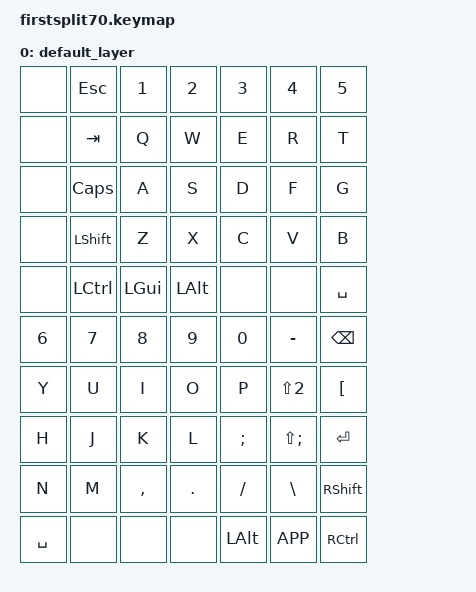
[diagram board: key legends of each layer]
#include <behaviors.dtsi>
#include <dt-bindings/zmk/keys.h>

/ {
	keymap {
		compatible = "zmk,keymap";

		default_layer {
			// 5行7列 × 2 = 70キー
			// ZMK split position order: 左35キー -> 右35キー
			bindings = <
				// Left half (35)
				&none      &kp ESC    &kp N1     &kp N2       &kp N3     &kp N4      &kp N5
				&none      &kp TAB    &kp Q      &kp W        &kp E      &kp R       &kp T
				&none      &kp CAPS   &kp A      &kp S        &kp D      &kp F       &kp G
				&none      &kp LSHIFT &kp Z      &kp X        &kp C      &kp V       &kp B
				&none      &kp LCTRL  &kp LGUI   &kp LALT     &none      &none       &kp SPACE

				// Right half (35)
				&kp N6     &kp N7     &kp N8     &kp N9       &kp N0     &kp MINUS   &kp BSPC
				&kp Y      &kp U      &kp I      &kp O        &kp P      &kp LS(N2)  &kp LBKT
				&kp H      &kp J      &kp K      &kp L        &kp SEMI   &kp LS(SEMI) &kp RET
				&kp N      &kp M      &kp COMMA  &kp DOT      &kp FSLH   &kp BSLH    &kp RSHIFT
				&kp SPACE  &none      &none      &none        &kp LALT   &kp K_APP   &kp RCTRL
			>;
		};
	};
};
